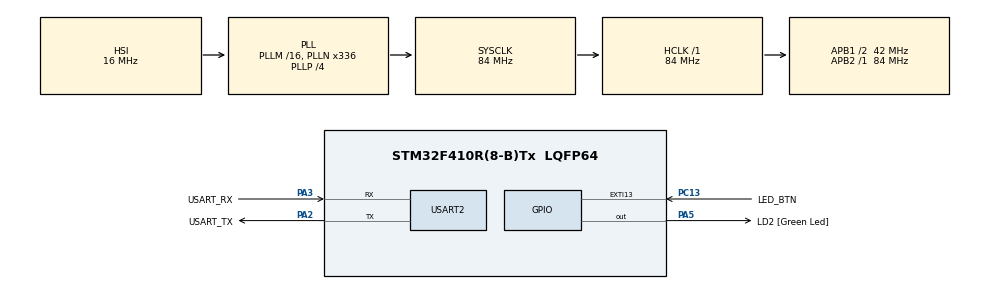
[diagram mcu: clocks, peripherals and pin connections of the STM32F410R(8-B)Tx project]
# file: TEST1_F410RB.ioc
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Mcu.Family=STM32F4
Mcu.Name=STM32F410R(8-B)Tx
Mcu.Package=LQFP64
NVIC.PriorityGroup=NVIC_PRIORITYGROUP_0
NVIC.USART2_IRQn=true\:0\:0\:false\:false\:true\:true\:true\:true
PA13.GPIO_Label=TMS
PA13.Mode=Serial_Wire
PA13.Signal=SYS_JTMS-SWDIO
PA14.GPIO_Label=TCK
PA14.Mode=Serial_Wire
PA14.Signal=SYS_JTCK-SWCLK
PA2.GPIO_Label=USART_TX
PA2.Mode=Asynchronous
PA2.Signal=USART2_TX
PA3.GPIO_Label=USART_RX
PA3.Mode=Asynchronous
PA3.Signal=USART2_RX
PA5.GPIO_Label=LD2 [Green Led]
PA5.Signal=GPIO_Output
PB3.GPIO_Label=SWO
PB3.Signal=SYS_JTDO-SWO
PC13-ANTI_TAMP.GPIO_Label=LED_BTN
PC13-ANTI_TAMP.GPIO_ModeDefaultEXTI=GPIO_MODE_IT_FALLING
PC13-ANTI_TAMP.Signal=GPXTI13
PC14-OSC32_IN.Mode=LSE-External-Oscillator
PC14-OSC32_IN.Signal=RCC_OSC32_IN
PC15-OSC32_OUT.Mode=LSE-External-Oscillator
PC15-OSC32_OUT.Signal=RCC_OSC32_OUT
PH0\ -\ OSC_IN.Mode=HSE-External-Clock-Source
PH0\ -\ OSC_IN.Signal=RCC_OSC_IN
PH1\ -\ OSC_OUT.Mode=HSE-External-Clock-Source
PH1\ -\ OSC_OUT.Signal=RCC_OSC_OUT
ProjectManager.HeapSize=0x200
ProjectManager.StackSize=0x400
ProjectManager.TargetToolchain=STM32CubeIDE
RCC.48MHZClocksFreq_Value=84000000
RCC.AHBFreq_Value=84000000
RCC.APB1CLKDivider=RCC_HCLK_DIV2
RCC.APB1Freq_Value=42000000
RCC.APB1TimFreq_Value=84000000
RCC.APB2Freq_Value=84000000
RCC.APB2TimFreq_Value=84000000
RCC.CortexFreq_Value=84000000
RCC.FLatency-AdvancedSettings=FLASH_LATENCY_2
RCC.HCLKFreq_Value=84000000
RCC.HSE_VALUE=8000000
RCC.HSI_VALUE=16000000
RCC.PLLN=336
RCC.PLLP=RCC_PLLP_DIV4
RCC.SYSCLKFreq_VALUE=84000000
RCC.SYSCLKSource=RCC_SYSCLKSOURCE_PLLCLK
RCC.VCOOutputFreq_Value=336000000
USART2.VirtualMode=VM_ASYNC
board=NUCLEO-F410RB

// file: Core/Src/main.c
/* USER CODE BEGIN Header */
/**
 ******************************************************************************
 * @file           : main.c
 * @brief          : Main program body
 ******************************************************************************
 * @attention
 *
 * Copyright (c) 2023 STMicroelectronics.
 * All rights reserved.
 *
 * This software is licensed under terms that can be found in the LICENSE file
 * in the root directory of this software component.
 * If no LICENSE file comes with this software, it is provided AS-IS.
 *
 ******************************************************************************
 */
/* USER CODE END Header */
#include "main.h"

/* USER CODE BEGIN Includes */
#include<string.h>
#include "utility.h"
/* USER CODE END Includes */

UART_HandleTypeDef huart2;

void SystemClock_Config(void);
static void MX_GPIO_Init(void);
static void MX_USART2_UART_Init(void);

/* USER CODE BEGIN 0 */
uint8_t rx_buffer_pos;
uint8_t rx_data[2];
char Command_Buffer[20];
/* USER CODE END 0 */

int main(void) {

	/* MCU Configuration--------------------------------------------------------*/

	/* Reset of all peripherals, Initializes the Flash interface and the Systick. */
	HAL_Init();

	/* Configure the system clock */
	SystemClock_Config();

	/* Initialize all configured peripherals */
	MX_GPIO_Init();
	MX_USART2_UART_Init();
	/* USER CODE BEGIN 2 */
	HAL_UART_Receive_IT(&huart2, (uint8_t*) rx_data, 1); //INITIALIZE THE INTERRUPT
	/* USER CODE END 2 */

	/* Infinite loop */
	while (1) {

	}
}

void SystemClock_Config(void) {
	RCC_OscInitTypeDef RCC_OscInitStruct = { 0 };
	RCC_ClkInitTypeDef RCC_ClkInitStruct = { 0 };

	/** Configure the main internal regulator output voltage
	 */
	__HAL_RCC_PWR_CLK_ENABLE();
	__HAL_PWR_VOLTAGESCALING_CONFIG(PWR_REGULATOR_VOLTAGE_SCALE1);

	/** Initializes the RCC Oscillators according to the specified parameters
	 * in the RCC_OscInitTypeDef structure.
	 */
	RCC_OscInitStruct.OscillatorType = RCC_OSCILLATORTYPE_HSI;
	RCC_OscInitStruct.HSIState = RCC_HSI_ON;
	RCC_OscInitStruct.HSICalibrationValue = RCC_HSICALIBRATION_DEFAULT;
	RCC_OscInitStruct.PLL.PLLState = RCC_PLL_ON;
	RCC_OscInitStruct.PLL.PLLSource = RCC_PLLSOURCE_HSI;
	RCC_OscInitStruct.PLL.PLLM = 16;
	RCC_OscInitStruct.PLL.PLLN = 336;
	RCC_OscInitStruct.PLL.PLLP = RCC_PLLP_DIV4;
	RCC_OscInitStruct.PLL.PLLQ = 4;
	RCC_OscInitStruct.PLL.PLLR = 2;
	if (HAL_RCC_OscConfig(&RCC_OscInitStruct) != HAL_OK) {
		Error_Handler();
	}

	/** Initializes the CPU, AHB and APB buses clocks
	 */
	RCC_ClkInitStruct.ClockType = RCC_CLOCKTYPE_HCLK | RCC_CLOCKTYPE_SYSCLK
			| RCC_CLOCKTYPE_PCLK1 | RCC_CLOCKTYPE_PCLK2;
	RCC_ClkInitStruct.SYSCLKSource = RCC_SYSCLKSOURCE_PLLCLK;
	RCC_ClkInitStruct.AHBCLKDivider = RCC_SYSCLK_DIV1;
	RCC_ClkInitStruct.APB1CLKDivider = RCC_HCLK_DIV2;
	RCC_ClkInitStruct.APB2CLKDivider = RCC_HCLK_DIV1;

	if (HAL_RCC_ClockConfig(&RCC_ClkInitStruct, FLASH_LATENCY_2) != HAL_OK) {
		Error_Handler();
	}
}

static void MX_USART2_UART_Init(void) {

	huart2.Instance = USART2;
	huart2.Init.BaudRate = 115200;
	huart2.Init.WordLength = UART_WORDLENGTH_8B;
	huart2.Init.StopBits = UART_STOPBITS_1;
	huart2.Init.Parity = UART_PARITY_NONE;
	huart2.Init.Mode = UART_MODE_TX_RX;
	huart2.Init.HwFlowCtl = UART_HWCONTROL_NONE;
	huart2.Init.OverSampling = UART_OVERSAMPLING_16;
	if (HAL_UART_Init(&huart2) != HAL_OK) {
		Error_Handler();
	}

}

static void MX_GPIO_Init(void) {
	GPIO_InitTypeDef GPIO_InitStruct = { 0 };

	/* GPIO Ports Clock Enable */
	__HAL_RCC_GPIOC_CLK_ENABLE();
	__HAL_RCC_GPIOH_CLK_ENABLE();
	__HAL_RCC_GPIOA_CLK_ENABLE();
	__HAL_RCC_GPIOB_CLK_ENABLE();

	/*Configure GPIO pin Output Level */
	HAL_GPIO_WritePin(LD2_GPIO_Port, LD2_Pin, GPIO_PIN_RESET);

	/*Configure GPIO pin : LED_BTN_Pin */
	GPIO_InitStruct.Pin = LED_BTN_Pin;
	GPIO_InitStruct.Mode = GPIO_MODE_IT_FALLING;
	GPIO_InitStruct.Pull = GPIO_NOPULL;
	HAL_GPIO_Init(LED_BTN_GPIO_Port, &GPIO_InitStruct);

	/*Configure GPIO pin : LD2_Pin */
	GPIO_InitStruct.Pin = LD2_Pin;
	GPIO_InitStruct.Mode = GPIO_MODE_OUTPUT_PP;
	GPIO_InitStruct.Pull = GPIO_NOPULL;
	GPIO_InitStruct.Speed = GPIO_SPEED_FREQ_LOW;
	HAL_GPIO_Init(LD2_GPIO_Port, &GPIO_InitStruct);

}

/* USER CODE BEGIN 4 */
void HAL_UART_RxCpltCallback(UART_HandleTypeDef *huart) {
	/* Prevent unused argument(s) compilation warning */
	UNUSED(huart);
	/* NOTE: This function should not be modified, when the callback is needed,
	 the HAL_UART_RxCpltCallback could be implemented in the user file
	 */
	if (huart->Instance == USART2) {
		if (rx_data[0] != '/') { //if it is not equal to 'COMMAND END' then write data into INCREMENTED POS of rx_buffer
			Command_Buffer[rx_buffer_pos++] = rx_data[0];
		} else { // HERE IT MEANS if(rx_data[0] == '/') IF it is equal to 'COMMAND END' then clear the buffer, compare data and move on
			Command_Buffer[rx_buffer_pos++] = '\0'; //ADDING NULL TERMINATOR AT THE END
			HAL_UART_Transmit(&huart2, (const uint8_t*) "\n\r", 2, 100); //PRINT NEW LINE AND CARRRIAGE RETURN
			Process_Received_Command_From_Uart(Command_Buffer);
			rx_buffer_pos = 0;
			//AFTER USING THE DATA CLEAR THE RX BUFFER (Command_Buffer)
			uint8_t i;
			if (rx_buffer_pos == 0) { //RESET THE BUFFER ONLY WHEN RX { BUFFER == 0 }
				for (i = 0; i < 20; i++)
					Command_Buffer[i] = 0;
			}
		}
		HAL_UART_Receive_IT(&huart2, rx_data, 1);
		HAL_UART_Transmit(&huart2, (const uint8_t*) rx_data, 1, 100); //PRINT THE RECEIVED CHARACTER

		//PROCESS RECEIVED DATA
	}
}
/* USER CODE END 4 */

void Error_Handler(void) {
	__disable_irq();
	while (1) {
	}
}
